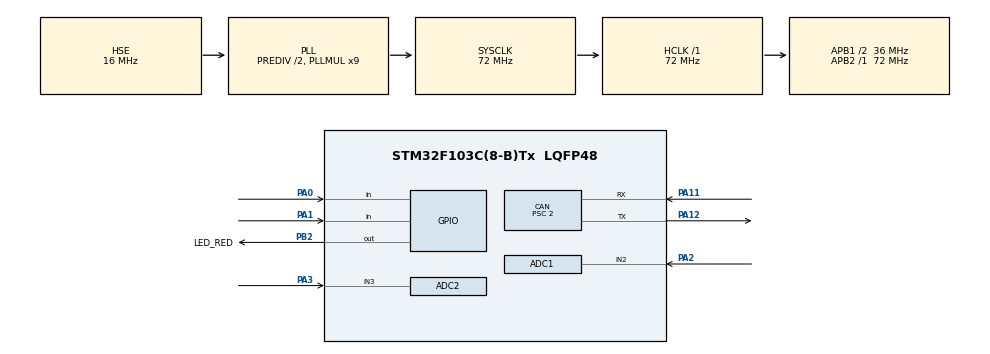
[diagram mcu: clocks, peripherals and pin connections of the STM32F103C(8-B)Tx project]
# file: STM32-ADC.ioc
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ADC1.Channel-0\#ChannelRegularConversion=ADC_CHANNEL_2
ADC1.NbrOfConversion=1
ADC1.NbrOfConversionFlag=1
ADC1.master=1
ADC2.Channel-0\#ChannelRegularConversion=ADC_CHANNEL_3
ADC2.NbrOfConversionFlag=1
ADC2.Rank-0\#ChannelRegularConversion=1
ADC2.SamplingTime-0\#ChannelRegularConversion=ADC_SAMPLETIME_1CYCLE_5
CAN.BS1=CAN_BS1_15TQ
CAN.BS2=CAN_BS2_2TQ
CAN.CalculateBaudRate=1000000
CAN.CalculateTimeBit=1000
CAN.CalculateTimeQuantum=55.55555555555556
CAN.NART=ENABLE
CAN.Prescaler=2
CAN.SJW=CAN_SJW_2TQ
Mcu.Family=STM32F1
Mcu.Name=STM32F103C(8-B)Tx
Mcu.Package=LQFP48
NVIC.PriorityGroup=NVIC_PRIORITYGROUP_4
NVIC.USB_LP_CAN1_RX0_IRQn=true\:0\:0\:false\:false\:true\:true\:true\:true
PA0-WKUP.GPIO_PuPd=GPIO_PULLUP
PA0-WKUP.Signal=GPIO_Input
PA1.GPIO_PuPd=GPIO_PULLUP
PA1.Signal=GPIO_Input
PA11.Mode=CAN_Activate
PA11.Signal=CAN_RX
PA12.Mode=CAN_Activate
PA12.Signal=CAN_TX
PA13.GPIO_Label=J7_SWDIO
PA13.Mode=Serial_Wire
PA13.Signal=SYS_JTMS-SWDIO
PA14.GPIO_Label=J7_SWCLK
PA14.Mode=Serial_Wire
PA14.Signal=SYS_JTCK-SWCLK
PA2.Signal=ADCx_IN2
PA3.Signal=ADCx_IN3
PB2.GPIO_Label=LED_RED
PB2.Signal=GPIO_Output
PD0-OSC_IN.Mode=HSE-External-Oscillator
PD0-OSC_IN.Signal=RCC_OSC_IN
PD1-OSC_OUT.Mode=HSE-External-Oscillator
PD1-OSC_OUT.Signal=RCC_OSC_OUT
ProjectManager.HeapSize=0x200
ProjectManager.StackSize=0x400
ProjectManager.TargetToolchain=STM32CubeIDE
RCC.ADCPresc=RCC_ADCPCLK2_DIV8
RCC.AHBFreq_Value=72000000
RCC.APB1CLKDivider=RCC_HCLK_DIV2
RCC.APB1Freq_Value=36000000
RCC.APB1TimFreq_Value=72000000
RCC.APB2Freq_Value=72000000
RCC.APB2TimFreq_Value=72000000
RCC.HCLKFreq_Value=72000000
RCC.HSEDivPLL=RCC_HSE_PREDIV_DIV2
RCC.HSE_VALUE=16000000
RCC.PLLMUL=RCC_PLL_MUL9
RCC.PLLSourceVirtual=RCC_PLLSOURCE_HSE
RCC.SYSCLKFreq_VALUE=72000000
RCC.SYSCLKSource=RCC_SYSCLKSOURCE_PLLCLK
RCC.USBFreq_Value=72000000
SH.ADCx_IN2.0=ADC1_IN2,IN2
SH.ADCx_IN3.0=ADC2_IN3,IN3
board=custom

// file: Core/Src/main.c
/* USER CODE BEGIN Header */
/**
 ******************************************************************************
 * @file           : main.c
 * @brief          : Main program body
 ******************************************************************************
 * @attention
 *
 * Copyright (c) 2024 STMicroelectronics.
 * All rights reserved.
 *
 * This software is licensed under terms that can be found in the LICENSE file
 * in the root directory of this software component.
 * If no LICENSE file comes with this software, it is provided AS-IS.
 *
 ******************************************************************************
 */
/* USER CODE END Header */
#include "main.h"

/* USER CODE BEGIN PD */
#define ADC_BUF_LEN 2
/* USER CODE END PD */

ADC_HandleTypeDef hadc1;
ADC_HandleTypeDef hadc2;

CAN_HandleTypeDef hcan;

/* USER CODE BEGIN PV */
// CAN Tx
CAN_TxHeaderTypeDef TxHeader;
uint8_t TxData[8];
uint32_t TxMailbox;

// CAN Rx
CAN_FilterTypeDef canfilterconfig;
CAN_RxHeaderTypeDef RxHeader;
uint8_t RxData[8];

// ADC
uint16_t adc_buf[ADC_BUF_LEN];
uint16_t gpio_in_buf[ADC_BUF_LEN];
/* USER CODE END PV */

void SystemClock_Config(void);
static void MX_GPIO_Init(void);
static void MX_CAN_Init(void);
static void MX_ADC1_Init(void);
static void MX_ADC2_Init(void);

/* USER CODE BEGIN 0 */

void setupTxCAN()
{
    TxHeader.StdId = 0x321;
    TxHeader.ExtId = 0x01;
    TxHeader.RTR = CAN_RTR_DATA;
    TxHeader.IDE = CAN_ID_EXT;
    TxHeader.DLC = 8;
    TxHeader.TransmitGlobalTime = DISABLE;

    TxData[0] = 0xA0;
    TxData[1] = 0xA1;
    TxData[2] = 0xA2;
    TxData[3] = 0xA3;
    TxData[4] = 0xA4;
    TxData[5] = 0xA5;
    TxData[6] = 0xA6;
    TxData[7] = 0xA7;
}

void setupRxCAN()
{
    canfilterconfig.FilterBank = 0;
    canfilterconfig.FilterMode = CAN_FILTERMODE_IDMASK;
    canfilterconfig.FilterScale = CAN_FILTERSCALE_32BIT;
    canfilterconfig.FilterIdHigh = 0x0000;
    canfilterconfig.FilterIdLow = 0x0000;
    canfilterconfig.FilterMaskIdHigh = 0x0000;
    canfilterconfig.FilterMaskIdLow = 0x0000;
    canfilterconfig.FilterFIFOAssignment = CAN_RX_FIFO0;
    canfilterconfig.FilterActivation = ENABLE;
    canfilterconfig.SlaveStartFilterBank = 14;

    HAL_CAN_ConfigFilter(&hcan, &canfilterconfig);
    HAL_CAN_ActivateNotification(&hcan, CAN_IT_RX_FIFO0_MSG_PENDING); //enable interrupts
}

void txCAN()
{
    HAL_StatusTypeDef can_result = HAL_CAN_AddTxMessage(&hcan, &TxHeader,
            TxData, &TxMailbox);
    if (can_result != HAL_OK)
    {
        Error_Handler();
    }
}

/**
 * @brief  Rx Fifo 0 message pending callback in non blocking mode
 * @param  CanHandle: pointer to a CAN_HandleTypeDef structure that contains
 *         the configuration information for the specified CAN.
 * @retval None
 */
void HAL_CAN_RxFifo0MsgPendingCallback(CAN_HandleTypeDef *CanHandle)
{
    /* Get RX message */
    if (HAL_CAN_GetRxMessage(CanHandle, CAN_RX_FIFO0, &RxHeader, RxData)
            != HAL_OK)
    {
        /* Reception Error */
        Error_Handler();
    }

    HAL_GPIO_TogglePin(GPIOB, GPIO_PIN_2);
    // Echo received CAN message
    HAL_CAN_AddTxMessage(&hcan, &TxHeader, RxData, &TxMailbox);
}

/* USER CODE END 0 */

int main(void)
{

  /* MCU Configuration--------------------------------------------------------*/

  /* Reset of all peripherals, Initializes the Flash interface and the Systick. */
  HAL_Init();

  /* Configure the system clock */
  SystemClock_Config();

  /* Initialize all configured peripherals */
  MX_GPIO_Init();
  MX_CAN_Init();
  MX_ADC1_Init();
  MX_ADC2_Init();
  /* USER CODE BEGIN 2 */
    setupTxCAN();
    setupRxCAN();

    HAL_ADCEx_Calibration_Start(&hadc1);
    HAL_ADCEx_Calibration_Start(&hadc2);

    //HAL_ADC_Start_DMA(&hadc1, (uint32_t*)adc_buf, ADC_BUF_LEN);
  /* USER CODE END 2 */

  /* Infinite loop */
  /* USER CODE BEGIN WHILE */
    while (1)
    {

    	//https://deepbluembedded.com/stm32-adc-read-example-dma-interrupt-polling/

//    	HAL_ADC_Start(&hadc1);
//
//    	HAL_ADC_PollForConversion(&hadc1, 1);
//    	adc_buf[0] = HAL_ADC_GetValue(&hadc1);
//
//    	HAL_ADC_Stop(&hadc1);
//
//    	HAL_ADC_Start(&hadc2);
//
//    	HAL_ADC_PollForConversion(&hadc2, 1);
//    	adc_buf[1] = HAL_ADC_GetValue(&hadc2);
//
//
//    	HAL_ADC_Stop(&hadc2);

    	gpio_in_buf[0] = HAL_GPIO_ReadPin(GPIOA, GPIO_PIN_0);
    	gpio_in_buf[1] = HAL_GPIO_ReadPin(GPIOA, GPIO_PIN_1);
//
//    	TxData[0] = 0x00; //First bit 0 signifies ADC
//		TxData[1] = 0x02; // Second bit signifies channel number
//		TxData[2] = 0x00;
//		TxData[3] = 0x00;
//		TxData[4] = 0x00;
//		TxData[5] = 0x00;
//		TxData[6] = (adc_buf[0] >> 8) & 0x08;
//		TxData[7] = (adc_buf[0]) & 0x08;
//
//        txCAN();
//
//        TxData[0] = 0x00; //First bit 0 signifies ADC
//        TxData[1] = 0x03; // Second bit signifies channel number
//		TxData[2] = 0x00;
//		TxData[3] = 0x00;
//		TxData[4] = 0x00;
//		TxData[5] = 0x00;
//		TxData[6] = (adc_buf[1] >> 8) & 0x08;
//		TxData[7] = (adc_buf[1]) & 0x08;
//
//		txCAN();
////        HAL_GPIO_TogglePin(GPIOB, GPIO_PIN_2);
//
//		TxData[0] = 0x01; //First bit 1 signifies GPIO
//		TxData[1] = 0x00; // Second bit signifies channel number
//		TxData[2] = 0x00;
//		TxData[3] = 0x00;
//		TxData[4] = 0x00;
//		TxData[5] = 0x00;
//		TxData[6] = 0x00;
//		TxData[7] = gpio_in_buf[0] & 0x08;
//
//		txCAN();
//
//		TxData[0] = 0x01; //First bit 1 signifies GPIO
//		TxData[1] = 0x01; // Second bit signifies channel number
//		TxData[2] = 0x00;
//		TxData[3] = 0x00;
//		TxData[4] = 0x00;
//		TxData[5] = 0x00;
//		TxData[6] = 0x00;
//		TxData[7] = gpio_in_buf[1] & 0x08;
//
//		txCAN();
        HAL_Delay(500);
    /* USER CODE END WHILE */

    }
}

void SystemClock_Config(void)
{
  RCC_OscInitTypeDef RCC_OscInitStruct = {0};
  RCC_ClkInitTypeDef RCC_ClkInitStruct = {0};
  RCC_PeriphCLKInitTypeDef PeriphClkInit = {0};

  /** Initializes the RCC Oscillators according to the specified parameters
  * in the RCC_OscInitTypeDef structure.
  */
  RCC_OscInitStruct.OscillatorType = RCC_OSCILLATORTYPE_HSE;
  RCC_OscInitStruct.HSEState = RCC_HSE_ON;
  RCC_OscInitStruct.HSEPredivValue = RCC_HSE_PREDIV_DIV2;
  RCC_OscInitStruct.HSIState = RCC_HSI_ON;
  RCC_OscInitStruct.PLL.PLLState = RCC_PLL_ON;
  RCC_OscInitStruct.PLL.PLLSource = RCC_PLLSOURCE_HSE;
  RCC_OscInitStruct.PLL.PLLMUL = RCC_PLL_MUL9;
  if (HAL_RCC_OscConfig(&RCC_OscInitStruct) != HAL_OK)
  {
    Error_Handler();
  }

  /** Initializes the CPU, AHB and APB buses clocks
  */
  RCC_ClkInitStruct.ClockType = RCC_CLOCKTYPE_HCLK|RCC_CLOCKTYPE_SYSCLK
                              |RCC_CLOCKTYPE_PCLK1|RCC_CLOCKTYPE_PCLK2;
  RCC_ClkInitStruct.SYSCLKSource = RCC_SYSCLKSOURCE_PLLCLK;
  RCC_ClkInitStruct.AHBCLKDivider = RCC_SYSCLK_DIV1;
  RCC_ClkInitStruct.APB1CLKDivider = RCC_HCLK_DIV2;
  RCC_ClkInitStruct.APB2CLKDivider = RCC_HCLK_DIV1;

  if (HAL_RCC_ClockConfig(&RCC_ClkInitStruct, FLASH_LATENCY_2) != HAL_OK)
  {
    Error_Handler();
  }
  PeriphClkInit.PeriphClockSelection = RCC_PERIPHCLK_ADC;
  PeriphClkInit.AdcClockSelection = RCC_ADCPCLK2_DIV8;
  if (HAL_RCCEx_PeriphCLKConfig(&PeriphClkInit) != HAL_OK)
  {
    Error_Handler();
  }
}

static void MX_ADC1_Init(void)
{

  ADC_ChannelConfTypeDef sConfig = {0};

  /** Common config
  */
  hadc1.Instance = ADC1;
  hadc1.Init.ScanConvMode = ADC_SCAN_DISABLE;
  hadc1.Init.ContinuousConvMode = DISABLE;
  hadc1.Init.DiscontinuousConvMode = DISABLE;
  hadc1.Init.ExternalTrigConv = ADC_SOFTWARE_START;
  hadc1.Init.DataAlign = ADC_DATAALIGN_RIGHT;
  hadc1.Init.NbrOfConversion = 1;
  if (HAL_ADC_Init(&hadc1) != HAL_OK)
  {
    Error_Handler();
  }

  /** Configure Regular Channel
  */
  sConfig.Channel = ADC_CHANNEL_2;
  sConfig.Rank = ADC_REGULAR_RANK_1;
  sConfig.SamplingTime = ADC_SAMPLETIME_1CYCLE_5;
  if (HAL_ADC_ConfigChannel(&hadc1, &sConfig) != HAL_OK)
  {
    Error_Handler();
  }

}

static void MX_ADC2_Init(void)
{

  ADC_ChannelConfTypeDef sConfig = {0};

  /** Common config
  */
  hadc2.Instance = ADC2;
  hadc2.Init.ScanConvMode = ADC_SCAN_DISABLE;
  hadc2.Init.ContinuousConvMode = DISABLE;
  hadc2.Init.DiscontinuousConvMode = DISABLE;
  hadc2.Init.ExternalTrigConv = ADC_SOFTWARE_START;
  hadc2.Init.DataAlign = ADC_DATAALIGN_RIGHT;
  hadc2.Init.NbrOfConversion = 1;
  if (HAL_ADC_Init(&hadc2) != HAL_OK)
  {
    Error_Handler();
  }

  /** Configure Regular Channel
  */
  sConfig.Channel = ADC_CHANNEL_3;
  sConfig.Rank = ADC_REGULAR_RANK_1;
  sConfig.SamplingTime = ADC_SAMPLETIME_1CYCLE_5;
  if (HAL_ADC_ConfigChannel(&hadc2, &sConfig) != HAL_OK)
  {
    Error_Handler();
  }

}

static void MX_CAN_Init(void)
{

  hcan.Instance = CAN1;
  hcan.Init.Prescaler = 2;
  hcan.Init.Mode = CAN_MODE_NORMAL;
  hcan.Init.SyncJumpWidth = CAN_SJW_2TQ;
  hcan.Init.TimeSeg1 = CAN_BS1_15TQ;
  hcan.Init.TimeSeg2 = CAN_BS2_2TQ;
  hcan.Init.TimeTriggeredMode = DISABLE;
  hcan.Init.AutoBusOff = DISABLE;
  hcan.Init.AutoWakeUp = DISABLE;
  hcan.Init.AutoRetransmission = ENABLE;
  hcan.Init.ReceiveFifoLocked = DISABLE;
  hcan.Init.TransmitFifoPriority = DISABLE;
  if (HAL_CAN_Init(&hcan) != HAL_OK)
  {
    Error_Handler();
  }
  /* USER CODE BEGIN CAN_Init 2 */

    if (HAL_CAN_Start(&hcan) != HAL_OK)
    {
        /* Start Error */
        Error_Handler();
    }

  /* USER CODE END CAN_Init 2 */

}

static void MX_GPIO_Init(void)
{
  GPIO_InitTypeDef GPIO_InitStruct = {0};

  /* GPIO Ports Clock Enable */
  __HAL_RCC_GPIOD_CLK_ENABLE();
  __HAL_RCC_GPIOA_CLK_ENABLE();
  __HAL_RCC_GPIOB_CLK_ENABLE();

  /*Configure GPIO pin Output Level */
  HAL_GPIO_WritePin(LED_RED_GPIO_Port, LED_RED_Pin, GPIO_PIN_RESET);

  /*Configure GPIO pins : PA0 PA1 */
  GPIO_InitStruct.Pin = GPIO_PIN_0|GPIO_PIN_1;
  GPIO_InitStruct.Mode = GPIO_MODE_INPUT;
  GPIO_InitStruct.Pull = GPIO_PULLUP;
  HAL_GPIO_Init(GPIOA, &GPIO_InitStruct);

  /*Configure GPIO pin : LED_RED_Pin */
  GPIO_InitStruct.Pin = LED_RED_Pin;
  GPIO_InitStruct.Mode = GPIO_MODE_OUTPUT_PP;
  GPIO_InitStruct.Pull = GPIO_NOPULL;
  GPIO_InitStruct.Speed = GPIO_SPEED_FREQ_LOW;
  HAL_GPIO_Init(LED_RED_GPIO_Port, &GPIO_InitStruct);

}

void Error_Handler(void)
{
    __disable_irq();
    while (1)
    {
    }
}
